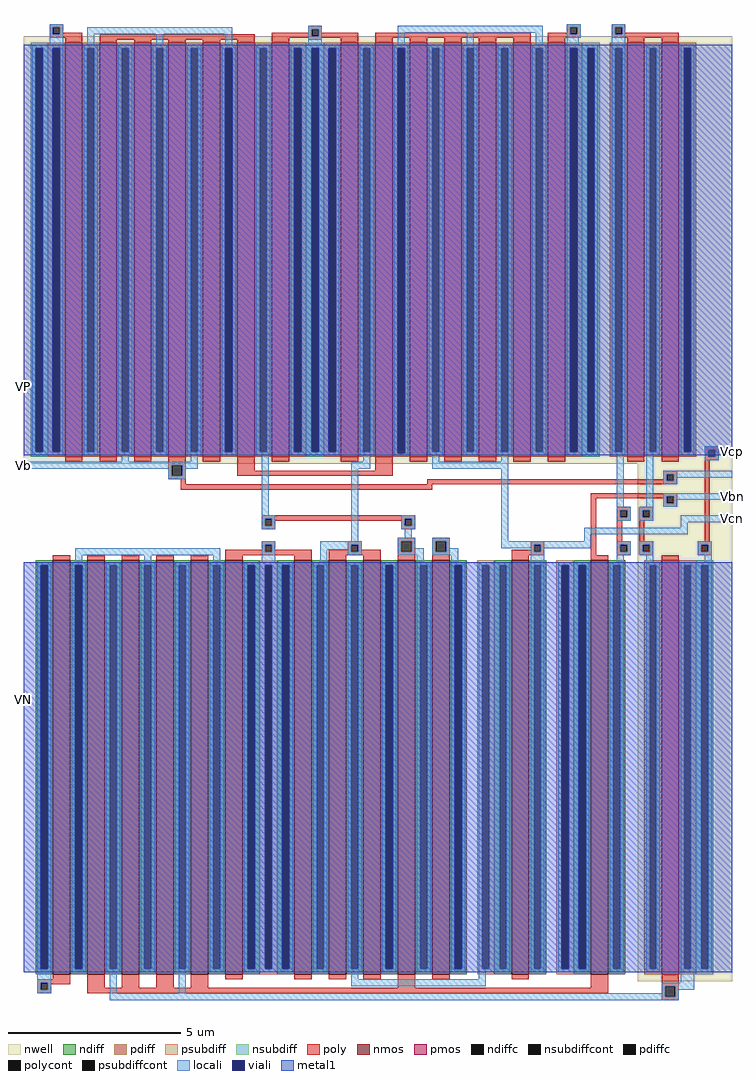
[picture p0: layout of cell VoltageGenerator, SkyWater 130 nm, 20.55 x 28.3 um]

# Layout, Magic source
magic
tech sky130A
<< nwell >>
rect 1210 -150 3265 1090
rect 2990 -1650 3265 -150
<< nmos >>
rect 1295 -1630 1345 -430
rect 1395 -1630 1445 -430
rect 1495 -1630 1545 -430
rect 1595 -1630 1645 -430
rect 1695 -1630 1745 -430
rect 1795 -1630 1845 -430
rect 1995 -1630 2045 -430
rect 2095 -1630 2145 -430
rect 2195 -1630 2245 -430
rect 2295 -1630 2345 -430
rect 2395 -1630 2445 -430
rect 2625 -1630 2675 -430
rect 2855 -1630 2905 -430
<< pmos >>
rect 1330 -130 1380 1070
rect 1430 -130 1480 1070
rect 1530 -130 1580 1070
rect 1630 -130 1680 1070
rect 1730 -130 1780 1070
rect 1830 -130 1880 1070
rect 1930 -130 1980 1070
rect 2130 -130 2180 1070
rect 2230 -130 2280 1070
rect 2330 -130 2380 1070
rect 2430 -130 2480 1070
rect 2530 -130 2580 1070
rect 2630 -130 2680 1070
rect 2730 -130 2780 1070
rect 2960 -130 3010 1070
rect 3060 -130 3110 1070
rect 3060 -1630 3110 -430
<< ndiff >>
rect 1245 -445 1295 -430
rect 1245 -1615 1260 -445
rect 1280 -1615 1295 -445
rect 1245 -1630 1295 -1615
rect 1345 -445 1395 -430
rect 1345 -1615 1360 -445
rect 1380 -1615 1395 -445
rect 1345 -1630 1395 -1615
rect 1445 -445 1495 -430
rect 1445 -1615 1460 -445
rect 1480 -1615 1495 -445
rect 1445 -1630 1495 -1615
rect 1545 -445 1595 -430
rect 1545 -1615 1560 -445
rect 1580 -1615 1595 -445
rect 1545 -1630 1595 -1615
rect 1645 -445 1695 -430
rect 1645 -1615 1660 -445
rect 1680 -1615 1695 -445
rect 1645 -1630 1695 -1615
rect 1745 -445 1795 -430
rect 1745 -1615 1760 -445
rect 1780 -1615 1795 -445
rect 1745 -1630 1795 -1615
rect 1845 -445 1895 -430
rect 1945 -445 1995 -430
rect 1845 -1615 1860 -445
rect 1880 -1615 1895 -445
rect 1945 -1615 1960 -445
rect 1980 -1615 1995 -445
rect 1845 -1630 1895 -1615
rect 1945 -1630 1995 -1615
rect 2045 -445 2095 -430
rect 2045 -1615 2060 -445
rect 2080 -1615 2095 -445
rect 2045 -1630 2095 -1615
rect 2145 -445 2195 -430
rect 2145 -1615 2160 -445
rect 2180 -1615 2195 -445
rect 2145 -1630 2195 -1615
rect 2245 -445 2295 -430
rect 2245 -1615 2260 -445
rect 2280 -1615 2295 -445
rect 2245 -1630 2295 -1615
rect 2345 -445 2395 -430
rect 2345 -1615 2360 -445
rect 2380 -1615 2395 -445
rect 2345 -1630 2395 -1615
rect 2445 -445 2495 -430
rect 2445 -1615 2460 -445
rect 2480 -1615 2495 -445
rect 2445 -1630 2495 -1615
rect 2575 -445 2625 -430
rect 2575 -1615 2590 -445
rect 2610 -1615 2625 -445
rect 2575 -1630 2625 -1615
rect 2675 -445 2725 -430
rect 2675 -1615 2690 -445
rect 2710 -1615 2725 -445
rect 2675 -1630 2725 -1615
rect 2805 -445 2855 -430
rect 2805 -1615 2820 -445
rect 2840 -1615 2855 -445
rect 2805 -1630 2855 -1615
rect 2905 -445 2955 -430
rect 2905 -1615 2920 -445
rect 2940 -1615 2955 -445
rect 2905 -1630 2955 -1615
<< pdiff >>
rect 1280 1055 1330 1070
rect 1280 -115 1295 1055
rect 1315 -115 1330 1055
rect 1280 -130 1330 -115
rect 1380 1055 1430 1070
rect 1380 -115 1395 1055
rect 1415 -115 1430 1055
rect 1380 -130 1430 -115
rect 1480 1055 1530 1070
rect 1480 -115 1495 1055
rect 1515 -115 1530 1055
rect 1480 -130 1530 -115
rect 1580 1055 1630 1070
rect 1580 -115 1595 1055
rect 1615 -115 1630 1055
rect 1580 -130 1630 -115
rect 1680 1055 1730 1070
rect 1680 -115 1695 1055
rect 1715 -115 1730 1055
rect 1680 -130 1730 -115
rect 1780 1055 1830 1070
rect 1780 -115 1795 1055
rect 1815 -115 1830 1055
rect 1780 -130 1830 -115
rect 1880 1055 1930 1070
rect 1880 -115 1895 1055
rect 1915 -115 1930 1055
rect 1880 -130 1930 -115
rect 1980 1055 2030 1070
rect 2080 1055 2130 1070
rect 1980 -115 1995 1055
rect 2015 -115 2030 1055
rect 2080 -115 2095 1055
rect 2115 -115 2130 1055
rect 1980 -130 2030 -115
rect 2080 -130 2130 -115
rect 2180 1055 2230 1070
rect 2180 -115 2195 1055
rect 2215 -115 2230 1055
rect 2180 -130 2230 -115
rect 2280 1055 2330 1070
rect 2280 -115 2295 1055
rect 2315 -115 2330 1055
rect 2280 -130 2330 -115
rect 2380 1055 2430 1070
rect 2380 -115 2395 1055
rect 2415 -115 2430 1055
rect 2380 -130 2430 -115
rect 2480 1055 2530 1070
rect 2480 -115 2495 1055
rect 2515 -115 2530 1055
rect 2480 -130 2530 -115
rect 2580 1055 2630 1070
rect 2580 -115 2595 1055
rect 2615 -115 2630 1055
rect 2580 -130 2630 -115
rect 2680 1055 2730 1070
rect 2680 -115 2695 1055
rect 2715 -115 2730 1055
rect 2680 -130 2730 -115
rect 2780 1055 2830 1070
rect 2780 -115 2795 1055
rect 2815 -115 2830 1055
rect 2780 -130 2830 -115
rect 2910 1055 2960 1070
rect 2910 -115 2925 1055
rect 2945 -115 2960 1055
rect 2910 -130 2960 -115
rect 3010 1055 3060 1070
rect 3010 -115 3025 1055
rect 3045 -115 3060 1055
rect 3010 -130 3060 -115
rect 3110 1055 3160 1070
rect 3110 -115 3125 1055
rect 3145 -115 3160 1055
rect 3110 -130 3160 -115
rect 3010 -445 3060 -430
rect 3010 -1615 3025 -445
rect 3045 -1615 3060 -445
rect 3010 -1630 3060 -1615
rect 3110 -445 3160 -430
rect 3110 -1615 3125 -445
rect 3145 -1615 3160 -445
rect 3110 -1630 3160 -1615
<< ndiffc >>
rect 1260 -1615 1280 -445
rect 1360 -1615 1380 -445
rect 1460 -1615 1480 -445
rect 1560 -1615 1580 -445
rect 1660 -1615 1680 -445
rect 1760 -1615 1780 -445
rect 1860 -1615 1880 -445
rect 1960 -1615 1980 -445
rect 2060 -1615 2080 -445
rect 2160 -1615 2180 -445
rect 2260 -1615 2280 -445
rect 2360 -1615 2380 -445
rect 2460 -1615 2480 -445
rect 2590 -1615 2610 -445
rect 2690 -1615 2710 -445
rect 2820 -1615 2840 -445
rect 2920 -1615 2940 -445
<< pdiffc >>
rect 1295 -115 1315 1055
rect 1395 -115 1415 1055
rect 1495 -115 1515 1055
rect 1595 -115 1615 1055
rect 1695 -115 1715 1055
rect 1795 -115 1815 1055
rect 1895 -115 1915 1055
rect 1995 -115 2015 1055
rect 2095 -115 2115 1055
rect 2195 -115 2215 1055
rect 2295 -115 2315 1055
rect 2395 -115 2415 1055
rect 2495 -115 2515 1055
rect 2595 -115 2615 1055
rect 2695 -115 2715 1055
rect 2795 -115 2815 1055
rect 2925 -115 2945 1055
rect 3025 -115 3045 1055
rect 3125 -115 3145 1055
rect 3025 -1615 3045 -445
rect 3125 -1615 3145 -445
<< psubdiff >>
rect 1895 -445 1945 -430
rect 1895 -1615 1910 -445
rect 1930 -1615 1945 -445
rect 1895 -1630 1945 -1615
rect 2525 -445 2575 -430
rect 2525 -1615 2540 -445
rect 2560 -1615 2575 -445
rect 2525 -1630 2575 -1615
rect 2755 -445 2805 -430
rect 2755 -1615 2770 -445
rect 2790 -1615 2805 -445
rect 2755 -1630 2805 -1615
<< nsubdiff >>
rect 1230 1055 1280 1070
rect 1230 -115 1245 1055
rect 1265 -115 1280 1055
rect 1230 -130 1280 -115
rect 2030 1055 2080 1070
rect 2030 -115 2045 1055
rect 2065 -115 2080 1055
rect 2030 -130 2080 -115
rect 2830 1055 2880 1070
rect 2830 -115 2845 1055
rect 2865 -115 2880 1055
rect 2830 -130 2880 -115
rect 3160 -445 3210 -430
rect 3160 -1615 3175 -445
rect 3195 -1615 3210 -445
rect 3160 -1630 3210 -1615
<< psubdiffcont >>
rect 1910 -1615 1930 -445
rect 2540 -1615 2560 -445
rect 2770 -1615 2790 -445
<< nsubdiffcont >>
rect 1245 -115 1265 1055
rect 2045 -115 2065 1055
rect 2845 -115 2865 1055
rect 3175 -1615 3195 -445
<< poly >>
rect 1285 1115 1325 1125
rect 1285 1095 1295 1115
rect 1315 1100 1325 1115
rect 2035 1110 2075 1120
rect 2035 1100 2045 1110
rect 1315 1095 1380 1100
rect 1285 1085 1380 1095
rect 1330 1070 1380 1085
rect 1430 1080 1880 1095
rect 1430 1070 1480 1080
rect 1530 1070 1580 1080
rect 1630 1070 1680 1080
rect 1730 1070 1780 1080
rect 1830 1070 1880 1080
rect 1930 1090 2045 1100
rect 2065 1100 2075 1110
rect 2785 1115 2825 1125
rect 2785 1100 2795 1115
rect 2065 1090 2180 1100
rect 1930 1085 2180 1090
rect 1930 1070 1980 1085
rect 2035 1080 2075 1085
rect 2130 1070 2180 1085
rect 2230 1085 2680 1100
rect 2230 1070 2280 1085
rect 2330 1070 2380 1085
rect 2430 1070 2480 1085
rect 2530 1070 2580 1085
rect 2630 1070 2680 1085
rect 2730 1095 2795 1100
rect 2815 1095 2825 1115
rect 2730 1085 2825 1095
rect 2915 1115 2955 1125
rect 2915 1095 2925 1115
rect 2945 1100 2955 1115
rect 2945 1095 3110 1100
rect 2915 1085 3110 1095
rect 2730 1070 2780 1085
rect 2960 1070 3010 1085
rect 3060 1070 3110 1085
rect 3185 -110 3225 -100
rect 3185 -130 3195 -110
rect 3215 -130 3225 -110
rect 1330 -145 1380 -130
rect 1430 -145 1480 -130
rect 1530 -145 1580 -130
rect 1630 -155 1680 -130
rect 1730 -145 1780 -130
rect 1630 -185 1640 -155
rect 1670 -185 1680 -155
rect 1830 -170 1880 -130
rect 1930 -145 1980 -130
rect 2130 -145 2180 -130
rect 2230 -170 2280 -130
rect 2330 -145 2380 -130
rect 2430 -145 2480 -130
rect 2530 -145 2580 -130
rect 2630 -145 2680 -130
rect 2730 -145 2780 -130
rect 2960 -145 3010 -130
rect 3060 -145 3110 -130
rect 3185 -140 3225 -130
rect 1830 -185 2280 -170
rect 3065 -180 3105 -170
rect 1630 -195 1680 -185
rect 3065 -195 3075 -180
rect 1665 -210 1680 -195
rect 2380 -200 3075 -195
rect 3095 -200 3105 -180
rect 2380 -210 3105 -200
rect 1665 -225 2395 -210
rect 2855 -245 3105 -235
rect 2855 -250 3075 -245
rect 1900 -310 2345 -300
rect 1900 -330 1910 -310
rect 1930 -315 2315 -310
rect 1930 -330 1940 -315
rect 1900 -340 1940 -330
rect 2305 -330 2315 -315
rect 2335 -330 2345 -310
rect 2305 -340 2345 -330
rect 2295 -375 2345 -365
rect 1900 -385 1940 -375
rect 1900 -400 1910 -385
rect 1795 -405 1910 -400
rect 1930 -400 1940 -385
rect 2150 -385 2190 -375
rect 2150 -400 2160 -385
rect 1930 -405 2045 -400
rect 1795 -415 2045 -405
rect 1295 -430 1345 -415
rect 1395 -430 1445 -415
rect 1495 -430 1545 -415
rect 1595 -430 1645 -415
rect 1695 -430 1745 -415
rect 1795 -430 1845 -415
rect 1995 -430 2045 -415
rect 2095 -405 2160 -400
rect 2180 -400 2190 -385
rect 2180 -405 2245 -400
rect 2095 -415 2245 -405
rect 2095 -430 2145 -415
rect 2195 -430 2245 -415
rect 2295 -405 2305 -375
rect 2335 -405 2345 -375
rect 2295 -430 2345 -405
rect 2395 -375 2445 -365
rect 2395 -405 2405 -375
rect 2435 -405 2445 -375
rect 2680 -385 2720 -375
rect 2680 -400 2690 -385
rect 2395 -430 2445 -405
rect 2625 -405 2690 -400
rect 2710 -405 2720 -385
rect 2625 -415 2720 -405
rect 2855 -415 2870 -250
rect 3065 -265 3075 -250
rect 3095 -265 3105 -245
rect 3065 -275 3105 -265
rect 2930 -285 2970 -275
rect 2930 -305 2940 -285
rect 2960 -305 2970 -285
rect 2930 -315 2970 -305
rect 2995 -285 3035 -275
rect 2995 -305 3005 -285
rect 3025 -305 3035 -285
rect 2995 -315 3035 -305
rect 2930 -375 2945 -315
rect 2995 -375 3010 -315
rect 3185 -375 3200 -140
rect 2930 -385 2970 -375
rect 2930 -405 2940 -385
rect 2960 -405 2970 -385
rect 2930 -415 2970 -405
rect 2995 -385 3035 -375
rect 2995 -405 3005 -385
rect 3025 -405 3035 -385
rect 2995 -415 3035 -405
rect 3165 -385 3205 -375
rect 3165 -405 3175 -385
rect 3195 -405 3205 -385
rect 3165 -415 3205 -405
rect 2625 -430 2675 -415
rect 2855 -430 2905 -415
rect 3060 -430 3110 -415
rect 1295 -1645 1345 -1630
rect 1250 -1655 1345 -1645
rect 1250 -1675 1260 -1655
rect 1280 -1660 1345 -1655
rect 1280 -1675 1290 -1660
rect 1250 -1685 1290 -1675
rect 1395 -1670 1445 -1630
rect 1495 -1670 1545 -1630
rect 1595 -1670 1645 -1630
rect 1695 -1670 1745 -1630
rect 1795 -1645 1845 -1630
rect 1995 -1645 2045 -1630
rect 2095 -1645 2145 -1630
rect 2195 -1645 2245 -1630
rect 2295 -1670 2345 -1630
rect 2395 -1645 2445 -1630
rect 2625 -1645 2675 -1630
rect 2855 -1670 2905 -1630
rect 1395 -1685 2905 -1670
rect 3060 -1665 3110 -1630
rect 3060 -1695 3070 -1665
rect 3100 -1695 3110 -1665
rect 3060 -1705 3110 -1695
<< polycont >>
rect 1295 1095 1315 1115
rect 2045 1090 2065 1110
rect 2795 1095 2815 1115
rect 2925 1095 2945 1115
rect 3195 -130 3215 -110
rect 1640 -185 1670 -155
rect 3075 -200 3095 -180
rect 1910 -330 1930 -310
rect 2315 -330 2335 -310
rect 1910 -405 1930 -385
rect 2160 -405 2180 -385
rect 2305 -405 2335 -375
rect 2405 -405 2435 -375
rect 2690 -405 2710 -385
rect 3075 -265 3095 -245
rect 2940 -305 2960 -285
rect 3005 -305 3025 -285
rect 2940 -405 2960 -385
rect 3005 -405 3025 -385
rect 3175 -405 3195 -385
rect 1260 -1675 1280 -1655
rect 3070 -1695 3100 -1665
<< locali >>
rect 1285 1115 1325 1125
rect 1285 1095 1295 1115
rect 1315 1095 1325 1115
rect 1285 1065 1325 1095
rect 1395 1095 1815 1115
rect 1395 1065 1415 1095
rect 1595 1065 1615 1095
rect 1795 1065 1815 1095
rect 2035 1110 2075 1120
rect 2035 1090 2045 1110
rect 2065 1090 2075 1110
rect 2035 1065 2075 1090
rect 2295 1100 2715 1120
rect 2295 1065 2315 1100
rect 2495 1065 2515 1100
rect 2695 1065 2715 1100
rect 2785 1115 2825 1125
rect 2785 1095 2795 1115
rect 2815 1095 2825 1115
rect 2785 1085 2825 1095
rect 2915 1115 2955 1125
rect 2915 1095 2925 1115
rect 2945 1095 2955 1115
rect 2785 1065 2820 1085
rect 1235 1055 1325 1065
rect 1235 -115 1245 1055
rect 1265 -115 1295 1055
rect 1315 -115 1325 1055
rect 1235 -125 1325 -115
rect 1385 1055 1425 1065
rect 1385 -115 1395 1055
rect 1415 -115 1425 1055
rect 1385 -125 1425 -115
rect 1485 1055 1525 1065
rect 1485 -115 1495 1055
rect 1515 -115 1525 1055
rect 1485 -125 1525 -115
rect 1585 1055 1625 1065
rect 1585 -115 1595 1055
rect 1615 -115 1625 1055
rect 1585 -125 1625 -115
rect 1685 1055 1725 1065
rect 1685 -115 1695 1055
rect 1715 -115 1725 1055
rect 1685 -125 1725 -115
rect 1785 1055 1825 1065
rect 1785 -115 1795 1055
rect 1815 -115 1825 1055
rect 1785 -125 1825 -115
rect 1885 1055 1925 1065
rect 1885 -115 1895 1055
rect 1915 -115 1925 1055
rect 1885 -125 1925 -115
rect 1985 1055 2125 1065
rect 1985 -115 1995 1055
rect 2015 -115 2045 1055
rect 2065 -115 2095 1055
rect 2115 -115 2125 1055
rect 1985 -125 2125 -115
rect 2185 1055 2225 1065
rect 2185 -115 2195 1055
rect 2215 -115 2225 1055
rect 2185 -125 2225 -115
rect 2285 1055 2325 1065
rect 2285 -120 2295 1055
rect 2315 -120 2325 1055
rect 2285 -125 2325 -120
rect 2385 1055 2425 1065
rect 2385 -115 2395 1055
rect 2415 -115 2425 1055
rect 2385 -125 2425 -115
rect 2485 1055 2525 1065
rect 2485 -115 2495 1055
rect 2515 -115 2525 1055
rect 2485 -125 2525 -115
rect 2585 1055 2625 1065
rect 2585 -115 2595 1055
rect 2615 -115 2625 1055
rect 2585 -125 2625 -115
rect 2685 1055 2725 1065
rect 2685 -115 2695 1055
rect 2715 -115 2725 1055
rect 2685 -125 2725 -115
rect 2785 1055 2875 1065
rect 2785 -115 2795 1055
rect 2815 -115 2845 1055
rect 2865 -115 2875 1055
rect 2785 -125 2875 -115
rect 2915 1055 2955 1095
rect 2915 -115 2925 1055
rect 2945 -115 2955 1055
rect 2915 -125 2955 -115
rect 3015 1055 3055 1065
rect 3015 -115 3025 1055
rect 3045 -115 3055 1055
rect 3015 -125 3055 -115
rect 3115 1055 3155 1065
rect 3115 -115 3125 1055
rect 3145 -115 3155 1055
rect 3115 -125 3155 -115
rect 3185 -105 3225 -100
rect 3185 -110 3265 -105
rect 1495 -145 1515 -125
rect 1695 -145 1715 -125
rect 1210 -155 1715 -145
rect 1210 -165 1640 -155
rect 1630 -185 1640 -165
rect 1670 -165 1715 -155
rect 1670 -185 1680 -165
rect 1630 -195 1680 -185
rect 1900 -300 1920 -125
rect 2195 -145 2215 -125
rect 2160 -165 2215 -145
rect 2395 -145 2415 -125
rect 2595 -145 2615 -125
rect 2395 -165 2615 -145
rect 1900 -310 1940 -300
rect 1900 -330 1910 -310
rect 1930 -330 1940 -310
rect 1900 -340 1940 -330
rect 2160 -375 2180 -165
rect 2305 -310 2345 -300
rect 2305 -330 2315 -310
rect 2335 -330 2345 -310
rect 2305 -340 2345 -330
rect 2315 -365 2335 -340
rect 2295 -375 2345 -365
rect 1900 -385 1940 -375
rect 1360 -415 1780 -395
rect 1360 -435 1380 -415
rect 1560 -435 1580 -415
rect 1760 -435 1780 -415
rect 1900 -405 1910 -385
rect 1930 -405 1940 -385
rect 1900 -435 1940 -405
rect 2070 -385 2190 -375
rect 2070 -400 2160 -385
rect 2070 -435 2090 -400
rect 2150 -405 2160 -400
rect 2180 -405 2190 -385
rect 2150 -415 2190 -405
rect 2295 -405 2305 -375
rect 2335 -395 2345 -375
rect 2395 -375 2445 -365
rect 2335 -405 2370 -395
rect 2295 -415 2370 -405
rect 2395 -405 2405 -375
rect 2435 -395 2445 -375
rect 2595 -375 2615 -165
rect 2930 -275 2950 -125
rect 3015 -275 3035 -125
rect 3185 -130 3195 -110
rect 3215 -125 3265 -110
rect 3215 -130 3225 -125
rect 3185 -140 3225 -130
rect 3065 -180 3265 -170
rect 3065 -200 3075 -180
rect 3095 -190 3265 -180
rect 3095 -200 3105 -190
rect 3065 -210 3105 -200
rect 3065 -245 3265 -235
rect 3065 -265 3075 -245
rect 3095 -255 3265 -245
rect 3095 -265 3105 -255
rect 3065 -275 3105 -265
rect 2930 -285 2970 -275
rect 2930 -305 2940 -285
rect 2960 -305 2970 -285
rect 2930 -315 2970 -305
rect 2995 -285 3035 -275
rect 2995 -305 3005 -285
rect 3025 -305 3035 -285
rect 2995 -315 3035 -305
rect 3115 -320 3265 -300
rect 3115 -335 3135 -320
rect 2835 -355 3135 -335
rect 2835 -375 2855 -355
rect 2595 -385 2855 -375
rect 2595 -395 2690 -385
rect 2435 -405 2470 -395
rect 2395 -415 2470 -405
rect 2350 -435 2370 -415
rect 2450 -435 2470 -415
rect 2680 -405 2690 -395
rect 2710 -395 2855 -385
rect 2930 -385 2970 -375
rect 2710 -405 2720 -395
rect 1250 -445 1290 -435
rect 1250 -1615 1260 -445
rect 1280 -1615 1290 -445
rect 1250 -1655 1290 -1615
rect 1350 -445 1390 -435
rect 1350 -1615 1360 -445
rect 1380 -1615 1390 -445
rect 1350 -1625 1390 -1615
rect 1450 -445 1490 -435
rect 1450 -1615 1460 -445
rect 1480 -1615 1490 -445
rect 1450 -1625 1490 -1615
rect 1550 -445 1590 -435
rect 1550 -1615 1560 -445
rect 1580 -1615 1590 -445
rect 1550 -1625 1590 -1615
rect 1650 -445 1690 -435
rect 1650 -1615 1660 -445
rect 1680 -1615 1690 -445
rect 1650 -1625 1690 -1615
rect 1750 -445 1790 -435
rect 1750 -1615 1760 -445
rect 1780 -1615 1790 -445
rect 1750 -1625 1790 -1615
rect 1850 -445 1990 -435
rect 1850 -1615 1860 -445
rect 1880 -1615 1910 -445
rect 1930 -1615 1960 -445
rect 1980 -1615 1990 -445
rect 1850 -1625 1990 -1615
rect 2050 -445 2090 -435
rect 2050 -1615 2060 -445
rect 2080 -1615 2090 -445
rect 2050 -1625 2090 -1615
rect 2150 -445 2190 -435
rect 2150 -1615 2160 -445
rect 2180 -1615 2190 -445
rect 2150 -1625 2190 -1615
rect 2250 -445 2290 -435
rect 2250 -1615 2260 -445
rect 2280 -1615 2290 -445
rect 2250 -1625 2290 -1615
rect 2350 -445 2390 -435
rect 2350 -1615 2360 -445
rect 2380 -1615 2390 -445
rect 2350 -1625 2390 -1615
rect 2450 -445 2490 -435
rect 2450 -1615 2460 -445
rect 2480 -1615 2490 -445
rect 2450 -1625 2490 -1615
rect 2530 -445 2620 -435
rect 2530 -1615 2540 -445
rect 2560 -1615 2590 -445
rect 2610 -1615 2620 -445
rect 2530 -1625 2620 -1615
rect 2680 -445 2720 -405
rect 2930 -405 2940 -385
rect 2960 -405 2970 -385
rect 2930 -415 2970 -405
rect 2995 -385 3035 -375
rect 2995 -405 3005 -385
rect 3025 -405 3035 -385
rect 2995 -415 3035 -405
rect 3165 -385 3205 -375
rect 3165 -405 3175 -385
rect 3195 -405 3205 -385
rect 3165 -415 3205 -405
rect 2930 -435 2950 -415
rect 2680 -1615 2690 -445
rect 2710 -1615 2720 -445
rect 2680 -1625 2720 -1615
rect 2760 -445 2850 -435
rect 2760 -1615 2770 -445
rect 2790 -1615 2820 -445
rect 2840 -1615 2850 -445
rect 2760 -1625 2850 -1615
rect 2910 -445 2950 -435
rect 2910 -1615 2920 -445
rect 2940 -1615 2950 -445
rect 2910 -1625 2950 -1615
rect 3015 -435 3035 -415
rect 3185 -435 3205 -415
rect 3015 -445 3055 -435
rect 3015 -1615 3025 -445
rect 3045 -1615 3055 -445
rect 3015 -1625 3055 -1615
rect 3115 -445 3205 -435
rect 3115 -1615 3125 -445
rect 3145 -1615 3175 -445
rect 3195 -1615 3205 -445
rect 3115 -1625 3205 -1615
rect 1250 -1675 1260 -1655
rect 1280 -1675 1290 -1655
rect 1250 -1685 1290 -1675
rect 1460 -1685 1480 -1625
rect 1660 -1685 1680 -1625
rect 2160 -1645 2180 -1625
rect 2530 -1645 2550 -1625
rect 2160 -1665 2550 -1645
rect 3115 -1655 3155 -1625
rect 3060 -1665 3155 -1655
rect 3060 -1685 3070 -1665
rect 1460 -1695 3070 -1685
rect 3100 -1675 3155 -1665
rect 3100 -1695 3110 -1675
rect 1460 -1705 3110 -1695
<< viali >>
rect 1245 -115 1265 1055
rect 1295 -115 1315 1055
rect 1795 -115 1815 1055
rect 1995 -115 2015 1055
rect 2045 -115 2065 1055
rect 2095 -115 2115 1055
rect 2295 -115 2315 1055
rect 2295 -120 2315 -115
rect 2795 -115 2815 1055
rect 2845 -115 2865 1055
rect 3125 -115 3145 1055
rect 1260 -1615 1280 -445
rect 1360 -1615 1380 -445
rect 1860 -1615 1880 -445
rect 1910 -1615 1930 -445
rect 1960 -1615 1980 -445
rect 2260 -1615 2280 -445
rect 2460 -1615 2480 -445
rect 2770 -1615 2790 -445
rect 2820 -1615 2840 -445
<< metal1 >>
rect 1210 1055 3265 1065
rect 1210 -115 1245 1055
rect 1265 -115 1295 1055
rect 1315 -115 1795 1055
rect 1815 -115 1995 1055
rect 2015 -115 2045 1055
rect 2065 -115 2095 1055
rect 2115 -115 2295 1055
rect 1210 -120 2295 -115
rect 2315 -115 2795 1055
rect 2815 -115 2845 1055
rect 2865 -115 3125 1055
rect 3145 -115 3265 1055
rect 2315 -120 3265 -115
rect 1210 -125 3265 -120
rect 1210 -445 3265 -435
rect 1210 -1615 1260 -445
rect 1280 -1615 1360 -445
rect 1380 -1615 1860 -445
rect 1880 -1615 1910 -445
rect 1930 -1615 1960 -445
rect 1980 -1615 2260 -445
rect 2280 -1615 2460 -445
rect 2480 -1615 2770 -445
rect 2790 -1615 2820 -445
rect 2840 -1615 3265 -445
rect 1210 -1625 3265 -1615
<< labels >>
rlabel locali 1210 -155 1210 -155 7 Vb
rlabel metal1 1210 75 1210 75 7 VP
rlabel metal1 1210 -835 1210 -835 7 VN
rlabel locali 3265 -115 3265 -115 3 Vcp
rlabel locali 3265 -245 3265 -245 3 Vbn
rlabel locali 3265 -310 3265 -310 3 Vcn
<< end >>
